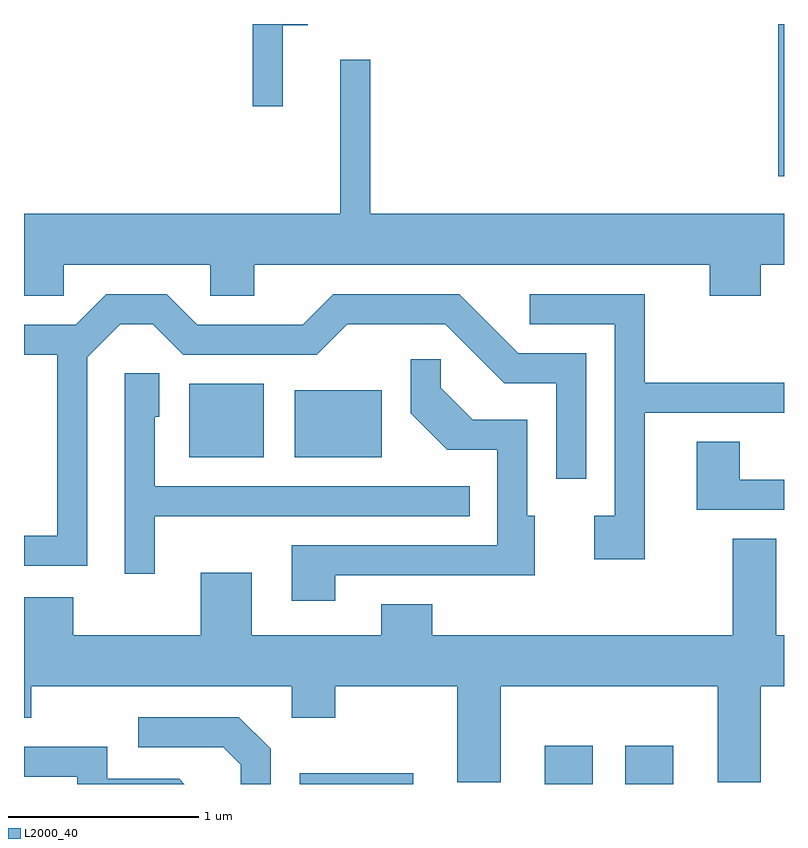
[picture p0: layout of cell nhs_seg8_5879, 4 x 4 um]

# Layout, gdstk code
import gdstk
lib = gdstk.Library(unit=1e-6, precision=1e-09)
def R(c, l, rs):  # rectangles x0, y0, x1, y1
    for r in rs: c.add(gdstk.rectangle(r[:2], r[2:], *l))
def P(c, l, *ps):  # polygons
    for p in ps: c.add(gdstk.Polygon(p, *l))
L2000_40 = (2000, 40)

nhs_seg8_5879 = lib.new_cell('nhs_seg8_5879')
R(nhs_seg8_5879, L2000_40, [(363.061,1840.342,363.659,1840.399), (364.351,1840.342,364.604,1840.544), (364.776,1840.342,365.029,1840.544), (362.481,1842.061,362.874,1842.449), (363.036,1842.061,363.494,1842.414), (365.581,1843.541,365.611,1844.342)])
P(nhs_seg8_5879, L2000_40, [(362.974,1844.336),(363.104,1844.336),(363.104,1844.342),(362.816,1844.342),(362.816,1843.908),(362.974,1843.908)],
  [(361.819,1843.076),(362.591,1843.076),(362.591,1842.911),(362.824,1842.911),(362.824,1843.076),(365.221,1843.076),(365.221,1842.911),(365.489,1842.911),(365.489,1843.076),(365.611,1843.076),(365.611,1843.344),(363.434,1843.344),(363.434,1844.153),(363.276,1844.153),(363.276,1843.344),(361.611,1843.344),(361.611,1842.911),(361.819,1842.911)],
  [(361.944,1842.589),(362.117,1842.761),(362.289,1842.761),(362.449,1842.601),(363.152,1842.601),(363.312,1842.761),(363.829,1842.761),(364.139,1842.451),(364.411,1842.451),(364.411,1841.948),(364.569,1841.948),(364.569,1842.609),(364.212,1842.609),(363.902,1842.919),(363.239,1842.919),(363.079,1842.759),(362.522,1842.759),(362.362,1842.919),(362.044,1842.919),(361.884,1842.759),(361.611,1842.759),(361.611,1842.601),(361.786,1842.601),(361.786,1841.649),(361.611,1841.649),(361.611,1841.491),(361.944,1841.491)],
  [(364.879,1842.296),(365.611,1842.296),(365.611,1842.454),(364.879,1842.454),(364.879,1842.919),(364.273,1842.919),(364.273,1842.761),(364.721,1842.761),(364.721,1841.754),(364.611,1841.754),(364.611,1841.526),(364.879,1841.526)],
  [(363.249,1841.441),(364.299,1841.441),(364.299,1841.754),(364.259,1841.754),(364.259,1842.259),(363.972,1842.259),(363.804,1842.427),(363.804,1842.578),(363.646,1842.578),(363.646,1842.294),(363.839,1842.101),(364.101,1842.101),(364.101,1841.599),(363.021,1841.599),(363.021,1841.306),(363.249,1841.306)],
  [(362.299,1841.751),(363.958,1841.751),(363.958,1841.909),(362.299,1841.909),(362.299,1842.276),(362.324,1842.276),(362.324,1842.504),(362.141,1842.504),(362.141,1841.448),(362.299,1841.448)],
  [(365.611,1841.944),(365.379,1841.944),(365.379,1842.144),(365.151,1842.144),(365.151,1841.786),(365.611,1841.786)],
  [(362.809,1841.454),(362.541,1841.454),(362.541,1841.124),(361.869,1841.124),(361.869,1841.324),(361.611,1841.324),(361.611,1840.691),(361.649,1840.691),(361.649,1840.856),(363.021,1840.856),(363.021,1840.691),(363.249,1840.691),(363.249,1840.856),(363.891,1840.856),(363.891,1840.351),(364.119,1840.351),(364.119,1840.856),(365.261,1840.856),(365.261,1840.351),(365.489,1840.351),(365.489,1840.856),(365.611,1840.856),(365.611,1841.124),(365.569,1841.124),(365.569,1841.634),(365.341,1841.634),(365.341,1841.124),(363.759,1841.124),(363.759,1841.289),(363.491,1841.289),(363.491,1841.124),(362.809,1841.124)],
  [(362.909,1840.527),(362.742,1840.694),(362.213,1840.694),(362.213,1840.536),(362.659,1840.536),(362.751,1840.444),(362.751,1840.342),(362.909,1840.342)],
  [(362.427,1840.369),(362.049,1840.369),(362.049,1840.539),(361.611,1840.539),(361.611,1840.381),(361.891,1840.381),(361.891,1840.342),(362.454,1840.342)])

lib.write_gds('nhs_seg8_5879.gds')
